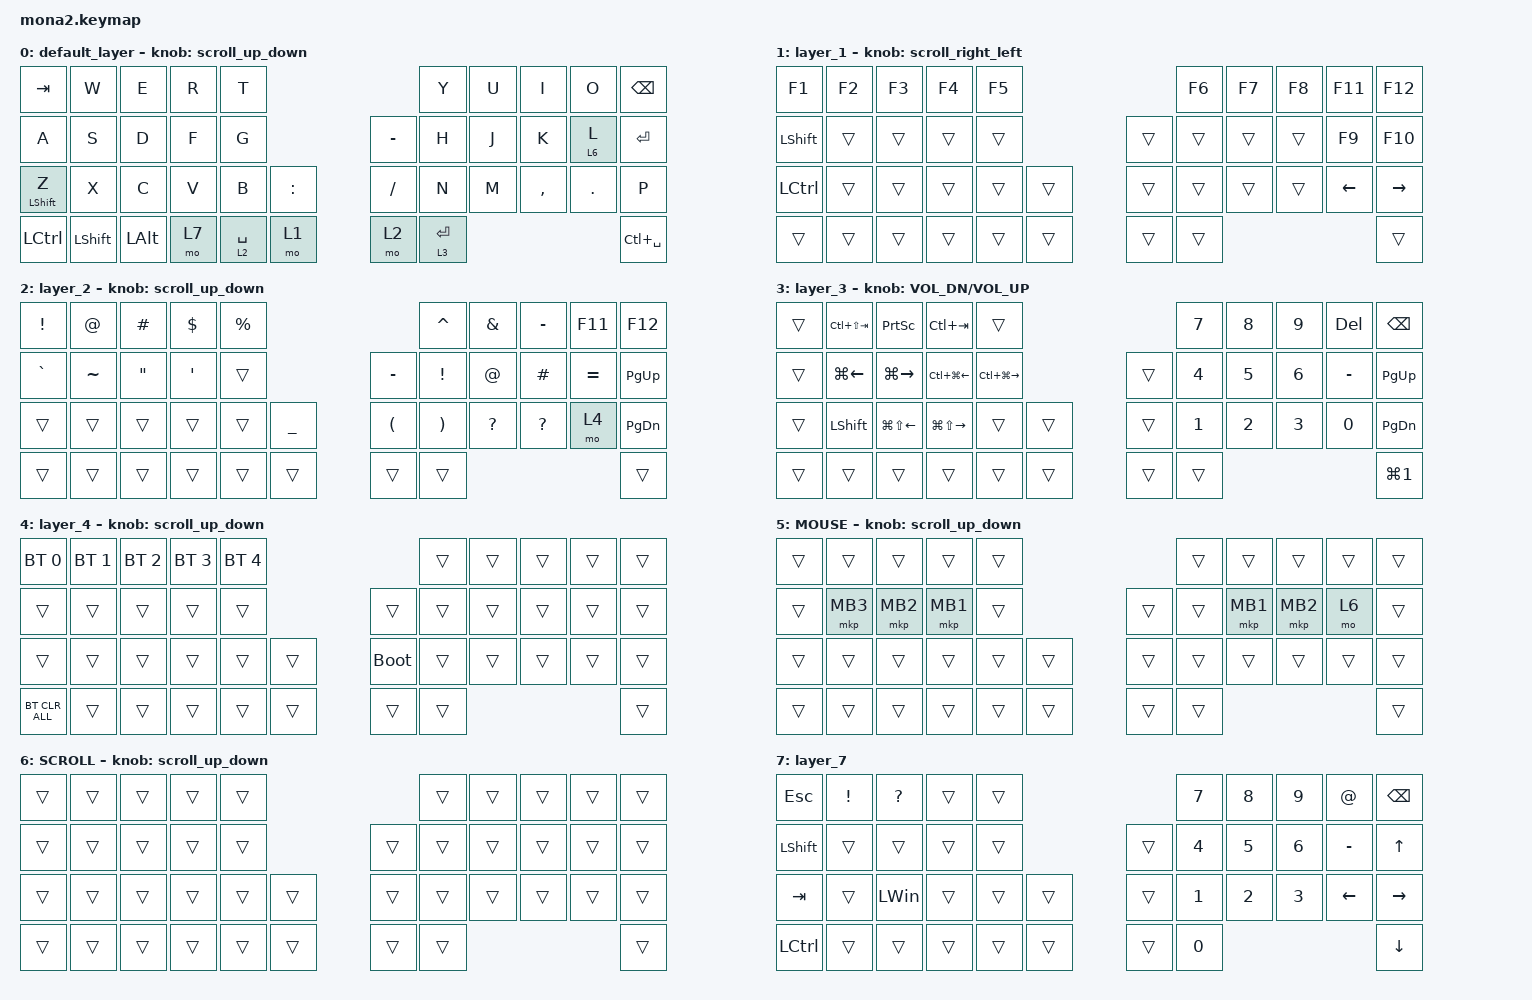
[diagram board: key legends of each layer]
#include <input/processors.dtsi>
#include <dt-bindings/zmk/input_transform.h>
#include <zephyr/dt-bindings/input/input-event-codes.h>
#include <behaviors.dtsi>
#include <dt-bindings/zmk/bt.h>
#include <dt-bindings/zmk/keys.h>
#include <dt-bindings/zmk/pointing.h>

#define ZMK_POINTING_DEFAULT_SCRL_VAL 100
#define MOUSE 5
#define SCROLL 6

&mt {
    flavor = "balanced";
    quick-tap-ms = <0>;
};

&lt {
    quick-tap-ms = <300>;
    flavor = "balanced";
};

/ {
    combos {
        compatible = "zmk,combos";

        Lcrick {
            bindings = <&mkp MB1>;
            key-positions = <18 17>;
        };

        Rcrick {
            bindings = <&mkp MB2>;
            key-positions = <18 19>;
        };

        space {
            bindings = <&kp SPACE>;
            key-positions = <10 11>;
        };

        F1combo {
            bindings = <&kp F1>;
            key-positions = <12 14>;
        };

        F2combo {
            bindings = <&kp F2>;
            key-positions = <12 25>;
        };

        Pcombo {
            bindings = <&kp P>;
            key-positions = <8 20>;
        };

        qcombo {
            bindings = <&kp Q>;
            key-positions = <1 10>;
        };
    };

    macros {
        to_layer_0: to_layer_0 {
            compatible = "zmk,behavior-macro-one-param";
            #binding-cells = <1>;
            bindings = <&to 0 &macro_param_1to1 &kp MACRO_PLACEHOLDER>;
            label = "TO_LAYER_0";
        };
    };

    behaviors {
        lt_to_layer_0: lt_to_layer_0 {
            compatible = "zmk,behavior-hold-tap";
            label = "LAYER_TAP_TO_0";
            bindings = <&mo>, <&to_layer_0>;

            #binding-cells = <2>;
            tapping-term-ms = <200>;
        };

        scroll_up_down: mouse_wheel_up_down {
            compatible = "zmk,behavior-sensor-rotate";
            #sensor-binding-cells = <0>;
            bindings = <&msc SCRL_DOWN>, <&msc SCRL_UP>;

            tap-ms = <20>;
        };

        scroll_right_left: mouse_wheel_right_left {
            compatible = "zmk,behavior-sensor-rotate";
            #sensor-binding-cells = <0>;
            bindings = <&msc SCRL_LEFT>, <&msc SCRL_RIGHT>;

            tap-ms = <20>;
        };
    };

    keymap {
        compatible = "zmk,keymap";

        default_layer {
            bindings = <
&kp TAB           &kp W       &kp E         &kp R  &kp T                                &kp Y        &kp U  &kp I      &kp O    &kp BACKSPACE
&kp A             &kp S       &kp D         &kp F  &kp G                     &kp MINUS  &kp H        &kp J  &kp K      &lt 6 L  &kp ENTER
&mt LEFT_SHIFT Z  &kp X       &kp C         &kp V  &kp B        &kp COLON    &kp SLASH  &kp N        &kp M  &kp COMMA  &kp DOT  &kp P
&kp LCTRL         &kp LSHIFT  &kp LEFT_ALT  &mo 7  &lt 2 SPACE  &mo 1        &mo 2      &lt 3 ENTER                             &kp LC(SPACE)
            >;

            sensor-bindings = <&scroll_up_down>;
        };

        layer_1 {
            bindings = <
&kp F1          &kp F2  &kp F3  &kp F4  &kp F5                    &kp F6  &kp F7  &kp F8  &kp F11         &kp F12
&kp LEFT_SHIFT  &trans  &trans  &trans  &trans            &trans  &trans  &trans  &trans  &kp F9          &kp F10
&kp LCTRL       &trans  &trans  &trans  &trans  &trans    &trans  &trans  &trans  &trans  &kp LEFT_ARROW  &kp RIGHT
&trans          &trans  &trans  &trans  &trans  &trans    &trans  &trans                                  &trans
            >;

            sensor-bindings = <&scroll_right_left>;
        };

        layer_2 {
            bindings = <
&kp EXCLAMATION  &kp AT_SIGN  &kp POUND          &kp DOLLAR  &kp PERCENT                                     &kp CARET              &kp AMPERSAND  &kp MINUS     &kp F11    &kp F12
&kp GRAVE        &kp TILDE    &kp DOUBLE_QUOTES  &kp SQT     &trans                    &kp MINUS             &kp EXCLAMATION        &kp AT_SIGN    &kp HASH      &kp EQUAL  &kp PAGE_UP
&trans           &trans       &trans             &trans      &trans       &kp UNDER    &kp LEFT_PARENTHESIS  &kp RIGHT_PARENTHESIS  &kp QUESTION   &kp QUESTION  &mo 4      &kp PAGE_DOWN
&trans           &trans       &trans             &trans      &trans       &trans       &trans                &trans                                                         &trans
            >;

            sensor-bindings = <&scroll_up_down>;
        };

        layer_3 {
            bindings = <
&trans  &kp LC(LS(TAB))     &kp PRINTSCREEN         &kp LC(TAB)              &trans                                     &kp N7        &kp N8        &kp N9        &kp DELETE  &kp BACKSPACE
&trans  &kp LG(LEFT_ARROW)  &kp LG(RIGHT_ARROW)     &kp LC(LG(LEFT_ARROW))   &kp LC(LG(RIGHT_ARROW))            &trans  &kp NUMBER_4  &kp N5        &kp NUMBER_6  &kp MINUS   &kp PAGE_UP
&trans  &kp LEFT_SHIFT      &kp LG(LS(LEFT_ARROW))  &kp LG(LS(RIGHT_ARROW))  &trans                   &trans    &trans  &kp NUMBER_1  &kp NUMBER_2  &kp NUMBER_3  &kp N0      &kp PAGE_DOWN
&trans  &trans              &trans                  &trans                   &trans                   &trans    &trans  &trans                                                &kp LG(NUMBER_1)
            >;

            sensor-bindings = <&inc_dec_kp C_VOL_DN C_VOL_UP>;
        };

        layer_4 {
            bindings = <
&bt BT_SEL 0    &bt BT_SEL 1  &bt BT_SEL 2  &bt BT_SEL 3  &bt BT_SEL 4                         &trans  &trans  &trans  &trans  &trans
&trans          &trans        &trans        &trans        &trans                  &trans       &trans  &trans  &trans  &trans  &trans
&trans          &trans        &trans        &trans        &trans        &trans    &bootloader  &trans  &trans  &trans  &trans  &trans
&bt BT_CLR_ALL  &trans        &trans        &trans        &trans        &trans    &trans       &trans                          &trans
            >;

            sensor-bindings = <&scroll_up_down>;
        };

        MOUSE {
            bindings = <
&trans  &trans    &trans    &trans    &trans                    &trans  &trans    &trans    &trans  &trans
&trans  &mkp MB3  &mkp MB2  &mkp MB1  &trans            &trans  &trans  &mkp MB1  &mkp MB2  &mo 6   &trans
&trans  &trans    &trans    &trans    &trans  &trans    &trans  &trans  &trans    &trans    &trans  &trans
&trans  &trans    &trans    &trans    &trans  &trans    &trans  &trans                              &trans
            >;

            sensor-bindings = <&scroll_up_down>;
        };

        SCROLL {
            bindings = <
&trans  &trans  &trans  &trans  &trans                    &trans  &trans  &trans  &trans  &trans
&trans  &trans  &trans  &trans  &trans            &trans  &trans  &trans  &trans  &trans  &trans
&trans  &trans  &trans  &trans  &trans  &trans    &trans  &trans  &trans  &trans  &trans  &trans
&trans  &trans  &trans  &trans  &trans  &trans    &trans  &trans                          &trans
            >;

            sensor-bindings = <&scroll_up_down>;
        };

        layer_7 {
            bindings = <
&kp ESCAPE      &kp EXCLAMATION  &kp QUESTION  &trans  &trans                    &kp N7        &kp N8        &kp N9        &kp AT_SIGN     &kp BACKSPACE
&kp LEFT_SHIFT  &trans           &trans        &trans  &trans            &trans  &kp NUMBER_4  &kp N5        &kp NUMBER_6  &kp MINUS       &kp UP_ARROW
&kp TAB         &trans           &kp LEFT_WIN  &trans  &trans  &trans    &trans  &kp NUMBER_1  &kp NUMBER_2  &kp NUMBER_3  &kp LEFT_ARROW  &kp RIGHT
&kp LCTRL       &trans           &trans        &trans  &trans  &trans    &trans  &kp N0                                                    &kp DOWN_ARROW
            >;
        };
    };
};
